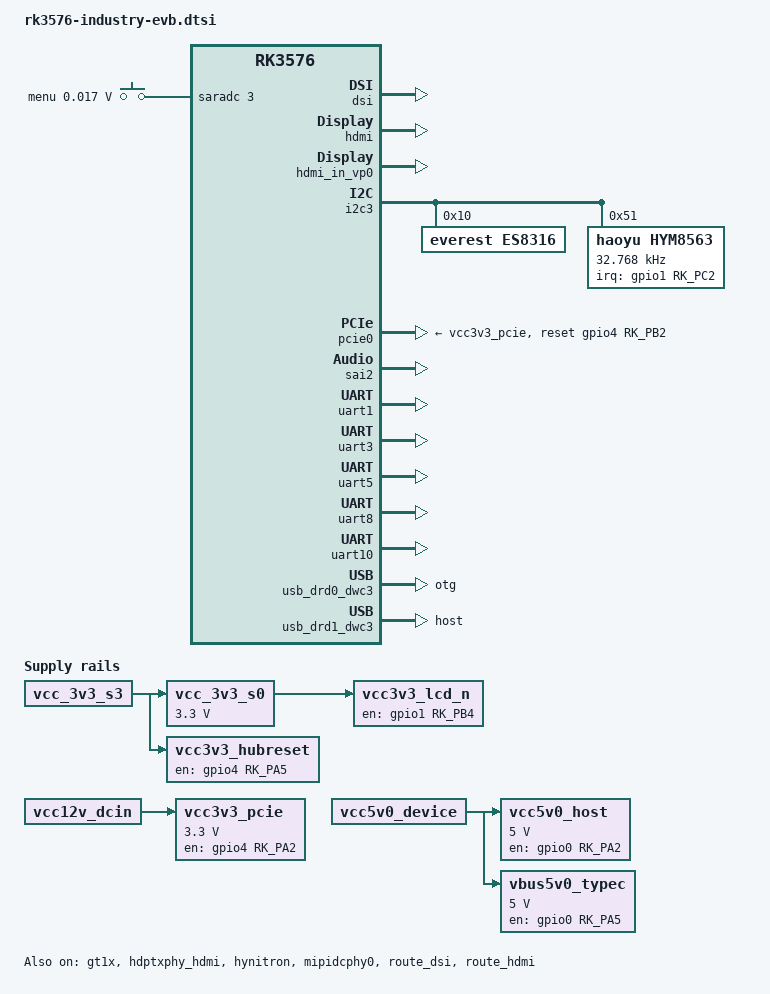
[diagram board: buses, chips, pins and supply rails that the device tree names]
// SPDX-License-Identifier: (GPL-2.0+ OR MIT)
/*
 * Copyright (c) 2024 Rockchip Electronics Co., Ltd.
 *
 */

#include "rk3576-industry.dtsi"
#include "rk3576-rk806.dtsi"

/ {
	es8316_sound: es8316-sound {
		status = "okay";
		compatible = "rockchip,multicodecs-card";
		rockchip,card-name = "rockchip-es8316";
		rockchip,format = "i2s";
		rockchip,mclk-fs = <256>;
		rockchip,cpu = <&sai2>;
		rockchip,codec = <&es8316>;
	};

	user-keys {
		compatible = "adc-keys";
		io-channels = <&saradc 3>;
		io-channel-names = "buttons";
		keyup-threshold-microvolt = <1800000>;
		poll-interval = <100>;

		menu-key {
			label = "menu";
			linux,code = <KEY_MENU>;
			press-threshold-microvolt = <17000>;
		};
	};

	vcc_3v3_s0: vcc-3v3-s0 {
		compatible = "regulator-fixed";
		regulator-name = "vcc_3v3_s0";
		regulator-boot-on;
		regulator-always-on;
		regulator-min-microvolt = <3300000>;
		regulator-max-microvolt = <3300000>;
		vin-supply = <&vcc_3v3_s3>;
	};

	vcc3v3_lcd_n: vcc3v3-lcd0-n {
		compatible = "regulator-fixed";
		regulator-name = "vcc3v3_lcd0_n";
		regulator-boot-on;
		enable-active-high;
		gpio = <&gpio1 RK_PB4 GPIO_ACTIVE_HIGH>;
		vin-supply = <&vcc_3v3_s0>;
	};

	vcc3v3_hubreset: vcc3v3-hubreset {
		compatible = "regulator-fixed";
		regulator-name = "vcc3v3_hubreset";
		enable-active-high;
		regulator-boot-on;
		regulator-always-on;
		gpio = <&gpio4 RK_PA5 GPIO_ACTIVE_HIGH>;
		vin-supply = <&vcc_3v3_s3>;
		pinctrl-names = "default";
		pinctrl-0 = <&usb_hub_rst>;
	};

	vcc3v3_pcie: gpio-regulator {
		compatible = "regulator-fixed";
		regulator-name = "vcc3v3_pcie";
		regulator-min-microvolt = <3300000>;
		regulator-max-microvolt = <3300000>;
		enable-active-high;
		gpio = <&gpio4 RK_PA2 GPIO_ACTIVE_HIGH>;
		startup-delay-us = <5000>;
		vin-supply = <&vcc12v_dcin>;
	};

	vcc5v0_host: vcc5v0-host {
		compatible = "regulator-fixed";
		regulator-name = "vcc5v0_host";
		regulator-boot-on;
		regulator-always-on;
		regulator-min-microvolt = <5000000>;
		regulator-max-microvolt = <5000000>;
		enable-active-high;
		gpio = <&gpio0 RK_PA2 GPIO_ACTIVE_HIGH>;
		vin-supply = <&vcc5v0_device>;
		pinctrl-names = "default";
		pinctrl-0 = <&usb_host_pwren>;
	};

	vbus5v0_typec: vbus5v0-typec {
		compatible = "regulator-fixed";
		regulator-name = "vbus5v0_typec";
		regulator-min-microvolt = <5000000>;
		regulator-max-microvolt = <5000000>;
		enable-active-high;
		gpio = <&gpio0 RK_PA5 GPIO_ACTIVE_HIGH>;
		vin-supply = <&vcc5v0_device>;
		pinctrl-names = "default";
		pinctrl-0 = <&usb_otg0_pwren>;
	};
};

/*
 * mipidcphy0 needs to be enabled
 * when dsi is enabled
 */
&dsi {
	status = "okay";
};

&dsi_panel {
	power-supply = <&vcc3v3_lcd_n>;
};

&gt1x {
	status = "okay";
	power-supply = <&vcc3v3_lcd_n>;
};

&hdmi {
	status = "okay";
	enable-gpios = <&gpio0 RK_PD1 GPIO_ACTIVE_HIGH>;
};

&hdmi_in_vp0 {
	status = "okay";
};

&hdptxphy_hdmi {
	status = "okay";
};

&hynitron {
	status = "okay";
	power-supply = <&vcc3v3_lcd_n>;
};

&i2c3 {
	status = "okay";
	pinctrl-names = "default";
	pinctrl-0 = <&i2c3m1_xfer>;

	es8316: es8316@10 {
		status = "okay";
		#sound-dai-cells = <0>;
		compatible = "everest,es8316";
		reg = <0x10>;
		clocks = <&mclkout_sai2>;
		clock-names = "mclk";
		assigned-clocks = <&mclkout_sai2>;
		assigned-clock-rates = <12288000>;
		pinctrl-names = "default";
		pinctrl-0 = <&sai2m0_mclk>;
	};

	hym8563: hym8563@51 {
		compatible = "haoyu,hym8563";
		reg = <0x51>;
		#clock-cells = <0>;
		clock-frequency = <32768>;
		clock-output-names = "hym8563";
		pinctrl-names = "default";
		pinctrl-0 = <&hym8563_int>;
		interrupt-parent = <&gpio1>;
		interrupts = <RK_PC2 IRQ_TYPE_LEVEL_LOW>;
		wakeup-source;
	};
};

&mipidcphy0 {
	status = "okay";
};

&pcie0 {
	reset-gpios = <&gpio4 RK_PB2 GPIO_ACTIVE_HIGH>;
	vpcie3v3-supply = <&vcc3v3_pcie>;
	prsnt-gpios = <&gpio4 RK_PA3 GPIO_ACTIVE_LOW>;
	status = "okay";
};

&pinctrl {
	hym8563 {
		hym8563_int: hym8563-int {
			rockchip,pins = <1 RK_PC2 RK_FUNC_GPIO &pcfg_pull_up>;
		};
	};

	usb {
		usb_hub_rst: usb-hub-rst {
			rockchip,pins = <4 RK_PA5 RK_FUNC_GPIO &pcfg_pull_none>;
		};

		usb_host_pwren: usb-host-pwren {
			rockchip,pins = <0 RK_PA2 RK_FUNC_GPIO &pcfg_pull_none>;
		};

		usb_otg0_pwren: usb-otg0-pwren {
			rockchip,pins = <0 RK_PA5 RK_FUNC_GPIO &pcfg_pull_none>;
		};
	};
};

&route_dsi {
	status = "okay";
};

&route_hdmi {
	status = "okay";
	connect = <&vp0_out_hdmi>;
};

&sai2 {
	status = "okay";
};

&u2phy0_otg {
	vbus-supply = <&vbus5v0_typec>;
};

&u2phy1_otg {
	phy-supply = <&vcc5v0_host>;
};

&uart1 {
	pinctrl-names = "default";
	pinctrl-0 = <&uart1m0_xfer &uart1m0_rtsn>;
	linux,rs485-enabled-at-boot-time;
	status = "okay";
};

&uart3 {
	pinctrl-names = "default";
	pinctrl-0 = <&uart3m2_xfer &uart3m2_ctsn &uart3m2_rtsn>;
	status = "okay";
};

&uart5 {
	pinctrl-names = "default";
	pinctrl-0 = <&uart5m1_xfer>;
	status = "okay";
};

&uart8 {
	pinctrl-names = "default";
	pinctrl-0 = <&uart8m2_xfer>;
	status = "okay";
};

&uart10 {
	pinctrl-names = "default";
	pinctrl-0 = <&uart10m2_xfer>;
	status = "okay";
};

&usb_drd0_dwc3 {
	dr_mode = "otg";
	extcon = <&u2phy0>;
	snps,usb2-lpm-disable;
};

&usb_drd1_dwc3 {
	dr_mode = "host";
	status = "okay";
};
